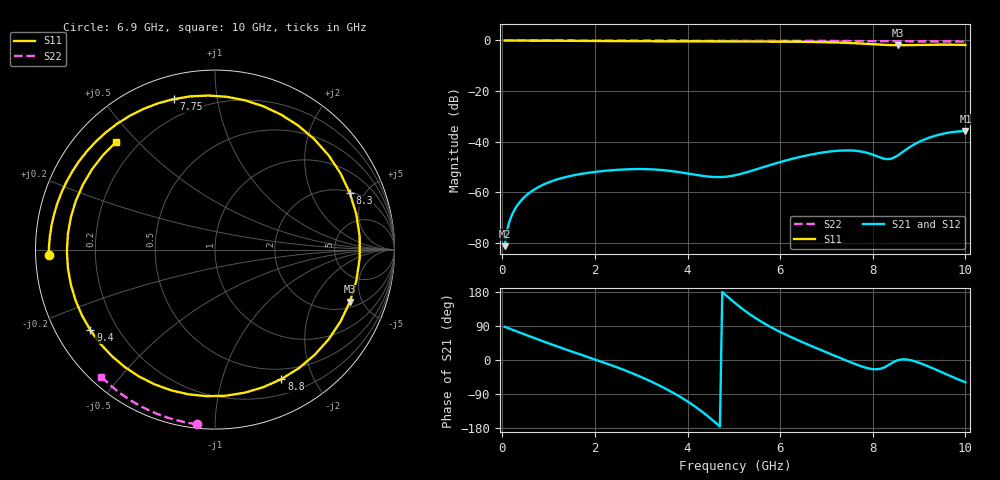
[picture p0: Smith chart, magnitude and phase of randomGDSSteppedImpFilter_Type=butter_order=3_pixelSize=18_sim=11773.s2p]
! freq	dB(S11)	phase(S11)	dB(S12)	phase(S12)
!  dB(S21)	phase(S21)	dB(S22)	phase(S22)
!S-par simulation data
#  GHz  S  DB  R 50
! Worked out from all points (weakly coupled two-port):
!   200 points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, 50 MHz to 10 GHz, reference 50 ohm
!   highest |S21| = -35.81 dB at 10 GHz (marker M1); lowest = -81.3 dB at 50 MHz (marker M2)
!   lowest |S11| = -1.9 dB at 8.55 GHz (marker M3), VSWR 9.31, Z = 120 - j199 ohm
!   |S11| at or under -10 dB: nowhere
!   |S22| runs from -0.4 to 0.0 dB; largest |S21 - S12| = 0
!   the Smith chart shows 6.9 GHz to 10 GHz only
!   S11 on the Smith chart (normalised r, x): 6.9 GHz: 0.04, -0.02; 7.75 GHz: 0.11, +0.76; 8.3 GHz: 2.09, +3.91; 8.8 GHz: 0.37, -1.57; 9.4 GHz: 0.10, -0.29; 10 GHz: 0.12, +0.43
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0.05  -0.00 -4.0  -81.34 87.6  -81.34 87.6  -0.00 -0.8
0.35  -0.04 -27.7  -64.55 73.6  -64.55 73.6  -0.01 -5.3
0.95  -0.10 -75.4  -56.49 46.2  -56.49 46.2  -0.02 -14.4
1.75  -0.18 -142.6  -52.62 11.8  -52.62 11.8  -0.03 -26.3
2.45  -0.26 151.5  -51.19 -18.2  -51.19 -18.2  -0.05 -36.5
2.95  -0.31 100.6  -50.85 -42.4  -50.85 -42.4  -0.06 -43.7
3.4  -0.33 55.3  -51.16 -67.8  -51.16 -67.8  -0.07 -50.1
4.1  -0.33 -6.8  -52.89 -117.5  -52.89 -117.5  -0.08 -59.7
5.05  -0.35 -71.6  -53.21 147.9  -53.21 147.9  -0.11 -72.4
5.85  -0.42 -116.5  -48.88 83.5  -48.88 83.5  -0.14 -82.8
6.7  -0.59 -165.0  -44.99 35.6  -44.99 35.6  -0.18 -93.4
6.9  -0.66 -178.1  -44.36 25.3  -44.36 25.3  -0.19 -95.8
7.35  -0.88 147.0  -43.50 2.5  -43.50 2.5  -0.22 -101.2
7.75  -1.21 105.3  -43.91 -16.5  -43.91 -16.5  -0.24 -106.0
8.05  -1.54 63.9  -45.49 -24.5  -45.49 -24.5  -0.26 -109.5
8.3  -1.78 22.7  -46.92 -16.1  -46.92 -16.1  -0.28 -112.4
8.35  -1.81 14.0  -46.91 -12.5  -46.91 -12.5  -0.29 -113.0
8.55  -1.87 -21.1  -45.32 -0.3  -45.32 -0.3  -0.30 -115.3
8.8  -1.82 -62.9  -42.14 -0.0  -42.14 -0.0  -0.33 -118.2
9.1  -1.71 -107.3  -39.27 -12.0  -39.27 -12.0  -0.35 -121.6
9.4  -1.65 -147.0  -37.42 -27.3  -37.42 -27.3  -0.38 -125.1
10  -1.78 132.5  -35.81 -58.7  -35.81 -58.7  -0.45 -131.9
